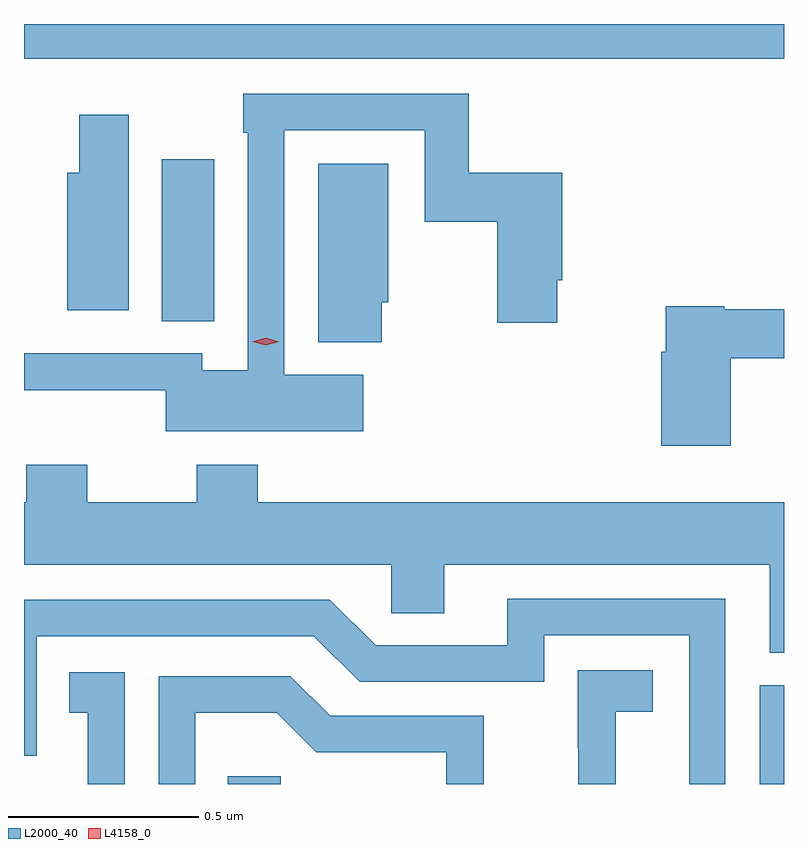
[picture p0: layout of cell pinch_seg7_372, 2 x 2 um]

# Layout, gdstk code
import gdstk
lib = gdstk.Library(unit=1e-6, precision=1e-09)
def R(c, l, rs):  # rectangles x0, y0, x1, y1
    for r in rs: c.add(gdstk.rectangle(r[:2], r[2:], *l))
def P(c, l, *ps):  # polygons
    for p in ps: c.add(gdstk.Polygon(p, *l))
L2000_40 = (2000, 40)
L4158_0 = (4158, 0)

pinch_seg7_372 = lib.new_cell('pinch_seg7_372')
R(pinch_seg7_372, L2000_40, [(448.351,1005.367,448.491,1005.387), (449.751,1005.367,449.815,1005.627), (448.178,1006.585,448.315,1007.011), (447.815,1007.276,449.815,1007.367)])
P(pinch_seg7_372, L2000_40, [(448.708,1006.444),(448.5,1006.444),(448.5,1007.088),(448.869,1007.088),(448.869,1006.846),(449.06,1006.846),(449.06,1006.581),(449.218,1006.581),(449.218,1006.693),(449.231,1006.693),(449.231,1006.975),(448.985,1006.975),(448.985,1007.184),(448.392,1007.184),(448.392,1007.081),(448.404,1007.081),(448.404,1006.456),(448.284,1006.456),(448.284,1006.5),(447.815,1006.5),(447.815,1006.403),(448.188,1006.403),(448.188,1006.295),(448.708,1006.295)],
  [(448.09,1007.128),(447.961,1007.128),(447.961,1006.975),(447.929,1006.975),(447.929,1006.614),(448.09,1006.614)],
  [(448.756,1006.635),(448.774,1006.635),(448.774,1006.999),(448.589,1006.999),(448.589,1006.529),(448.756,1006.529)],
  [(449.675,1006.488),(449.815,1006.488),(449.815,1006.616),(449.658,1006.616),(449.658,1006.624),(449.504,1006.624),(449.504,1006.505),(449.492,1006.505),(449.492,1006.257),(449.675,1006.257)],
  [(449.815,1006.108),(448.43,1006.108),(448.43,1006.207),(448.27,1006.207),(448.27,1006.108),(447.981,1006.108),(447.981,1006.207),(447.821,1006.207),(447.821,1006.108),(447.815,1006.108),(447.815,1005.944),(448.782,1005.944),(448.782,1005.817),(448.921,1005.817),(448.921,1005.944),(449.777,1005.944),(449.777,1005.712),(449.815,1005.712)],
  [(449.661,1005.855),(449.087,1005.855),(449.087,1005.732),(448.74,1005.732),(448.62,1005.852),(447.815,1005.852),(447.815,1005.441),(447.849,1005.441),(447.849,1005.756),(448.578,1005.756),(448.698,1005.636),(449.184,1005.636),(449.184,1005.759),(449.565,1005.759),(449.565,1005.367),(449.661,1005.367)],
  [(449.372,1005.557),(449.47,1005.557),(449.47,1005.667),(449.272,1005.667),(449.272,1005.461),(449.273,1005.461),(449.273,1005.367),(449.372,1005.367)],
  [(448.08,1005.661),(447.934,1005.661),(447.934,1005.555),(447.983,1005.555),(447.983,1005.367),(448.08,1005.367)],
  [(448.266,1005.554),(448.48,1005.554),(448.584,1005.45),(448.926,1005.45),(448.926,1005.367),(449.025,1005.367),(449.025,1005.546),(448.621,1005.546),(448.516,1005.651),(448.17,1005.651),(448.17,1005.367),(448.266,1005.367)])
P(pinch_seg7_372, L4158_0, [(448.451,1006.521),(448.416,1006.531),(448.416,1006.531),(448.416,1006.531),(448.451,1006.541),(448.486,1006.531),(448.486,1006.531),(448.486,1006.531)])

lib.write_gds('pinch_seg7_372.gds')
